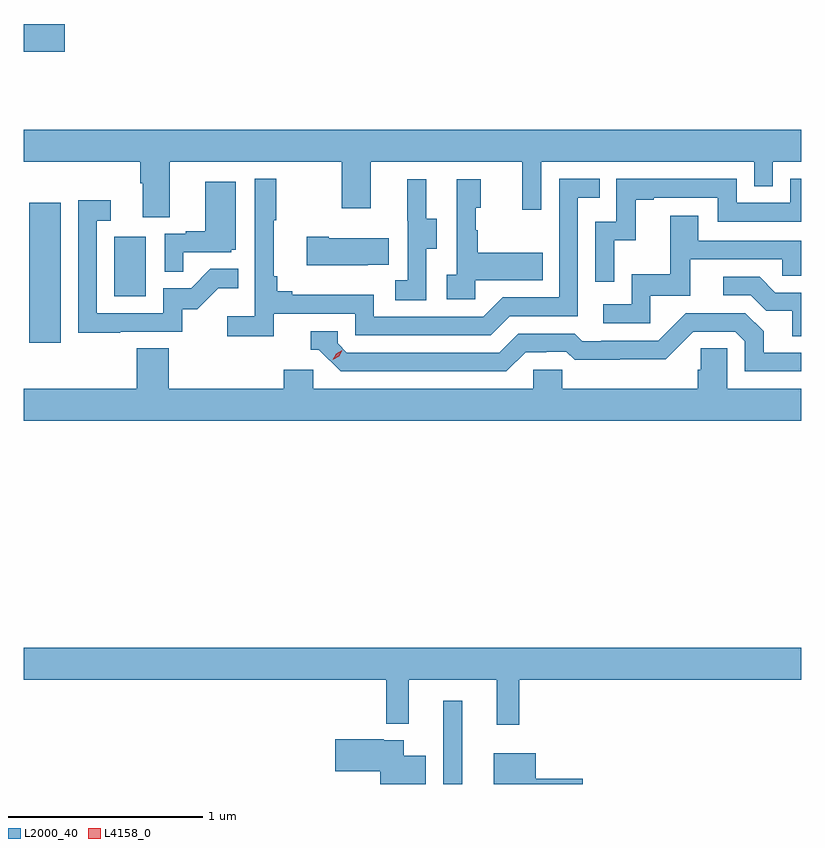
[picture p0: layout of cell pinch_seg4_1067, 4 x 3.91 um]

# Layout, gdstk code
import gdstk
lib = gdstk.Library(unit=1e-6, precision=1e-09)
def R(c, l, rs):  # rectangles x0, y0, x1, y1
    for r in rs: c.add(gdstk.rectangle(r[:2], r[2:], *l))
def P(c, l, *ps):  # polygons
    for p in ps: c.add(gdstk.Polygon(p, *l))
L2000_40 = (2000, 40)
L4158_0 = (4158, 0)

pinch_seg4_1067 = lib.new_cell('pinch_seg4_1067')
R(pinch_seg4_1067, L2000_40, [(868.755,762.983,868.852,763.411), (866.627,765.252,866.788,765.973), (867.062,765.492,867.226,765.799), (866.597,766.75,866.809,766.892)])
P(pinch_seg4_1067, L2000_40, [(867.349,766.184),(868.234,766.184),(868.234,765.945),(868.381,765.945),(868.381,766.184),(869.162,766.184),(869.162,765.936),(869.259,765.936),(869.259,766.184),(870.354,766.184),(870.354,766.057),(870.45,766.057),(870.45,766.184),(870.597,766.184),(870.597,766.348),(866.597,766.348),(866.597,766.184),(867.197,766.184),(867.197,766.072),(867.209,766.072),(867.209,765.898),(867.349,765.898)],
  [(867.884,765.402),(868.302,765.402),(868.302,765.291),(868.999,765.291),(869.098,765.39),(869.448,765.39),(869.448,765.999),(869.561,765.999),(869.561,766.095),(869.352,766.095),(869.352,765.486),(869.061,765.486),(868.962,765.387),(868.398,765.387),(868.398,765.499),(867.979,765.499),(867.979,765.518),(867.902,765.518),(867.902,765.595),(867.883,765.595),(867.883,765.883),(867.895,765.883),(867.895,766.096),(867.786,766.096),(867.786,765.388),(867.645,765.388),(867.645,765.286),(867.884,765.286)],
  [(869.634,765.779),(869.744,765.779),(869.744,765.987),(869.839,765.987),(869.839,765.999),(870.168,765.999),(870.168,765.876),(870.597,765.876),(870.597,766.095),(870.54,766.095),(870.54,765.972),(870.264,765.972),(870.264,766.095),(869.646,766.095),(869.646,765.876),(869.538,765.876),(869.538,765.567),(869.634,765.567)],
  [(868.668,765.736),(868.723,765.736),(868.723,765.891),(868.669,765.891),(868.669,766.093),(868.571,766.093),(868.571,765.879),(868.572,765.879),(868.572,765.575),(868.509,765.575),(868.509,765.472),(868.668,765.472)],
  [(868.92,765.575),(869.267,765.575),(869.267,765.715),(868.933,765.715),(868.933,765.83),(868.923,765.83),(868.923,765.948),(868.948,765.948),(868.948,766.093),(868.824,766.093),(868.824,765.602),(868.773,765.602),(868.773,765.477),(868.92,765.477)],
  [(867.419,765.717),(867.666,765.717),(867.666,765.732),(867.688,765.732),(867.688,766.081),(867.53,766.081),(867.53,765.826),(867.431,765.826),(867.431,765.813),(867.324,765.813),(867.324,765.619),(867.419,765.619)],
  [(867.095,765.309),(867.414,765.309),(867.414,765.426),(867.49,765.426),(867.597,765.533),(867.701,765.533),(867.701,765.632),(867.557,765.632),(867.459,765.534),(867.315,765.534),(867.315,765.405),(866.973,765.405),(866.973,765.879),(867.046,765.879),(867.046,765.985),(866.877,765.985),(866.877,765.304),(867.095,765.304)],
  [(869.82,765.495),(870.025,765.495),(870.025,765.681),(870.499,765.681),(870.499,765.597),(870.597,765.597),(870.597,765.777),(870.067,765.777),(870.067,765.907),(869.923,765.907),(869.923,765.604),(869.724,765.604),(869.724,765.45),(869.577,765.45),(869.577,765.354),(869.82,765.354)],
  [(868.367,765.653),(868.475,765.653),(868.475,765.79),(868.165,765.79),(868.165,765.798),(868.053,765.798),(868.053,765.65),(868.367,765.65)],
  [(870.597,765.51),(870.463,765.51),(870.382,765.591),(870.195,765.591),(870.195,765.498),(870.336,765.498),(870.416,765.418),(870.551,765.418),(870.551,765.286),(870.597,765.286)],
  [(869.179,765.204),(869.286,765.204),(869.286,765.207),(869.389,765.207),(869.431,765.165),(869.664,765.165),(869.664,765.167),(869.9,765.167),(870.042,765.309),(870.258,765.309),(870.306,765.261),(870.306,765.105),(870.597,765.105),(870.597,765.201),(870.403,765.201),(870.403,765.311),(870.309,765.405),(870.003,765.405),(869.862,765.264),(869.569,765.264),(869.569,765.261),(869.47,765.261),(869.431,765.3),(869.142,765.3),(869.043,765.201),(868.26,765.201),(868.212,765.249),(868.212,765.312),(868.073,765.312),(868.073,765.216),(868.116,765.216),(868.227,765.105),(869.08,765.105)],
  [(867.179,765.224),(867.179,765.016),(866.597,765.016),(866.597,764.852),(870.597,764.852),(870.597,765.016),(870.216,765.016),(870.216,765.224),(870.079,765.224),(870.079,765.114),(870.065,765.114),(870.065,765.016),(869.367,765.016),(869.367,765.114),(869.217,765.114),(869.217,765.016),(868.086,765.016),(868.086,765.114),(867.935,765.114),(867.935,765.016),(867.344,765.016),(867.344,765.224)],
  [(869.147,763.52),(870.597,763.52),(870.597,763.684),(866.597,763.684),(866.597,763.52),(868.463,763.52),(868.463,763.292),(868.577,763.292),(868.577,763.52),(869.03,763.52),(869.03,763.287),(869.147,763.287)],
  [(868.666,763.129),(868.552,763.129),(868.552,763.207),(868.448,763.207),(868.448,763.212),(868.2,763.212),(868.2,763.049),(868.43,763.049),(868.43,762.983),(868.666,762.983)],
  [(869.473,763.01),(869.23,763.01),(869.23,763.141),(869.015,763.141),(869.015,762.983),(869.473,762.983)])
P(pinch_seg4_1067, L4158_0, [(868.188,765.164),(868.188,765.164),(868.204,765.196),(868.235,765.215),(868.236,765.215),(868.236,765.215),(868.219,765.183),(868.188,765.164)])

lib.write_gds('pinch_seg4_1067.gds')
